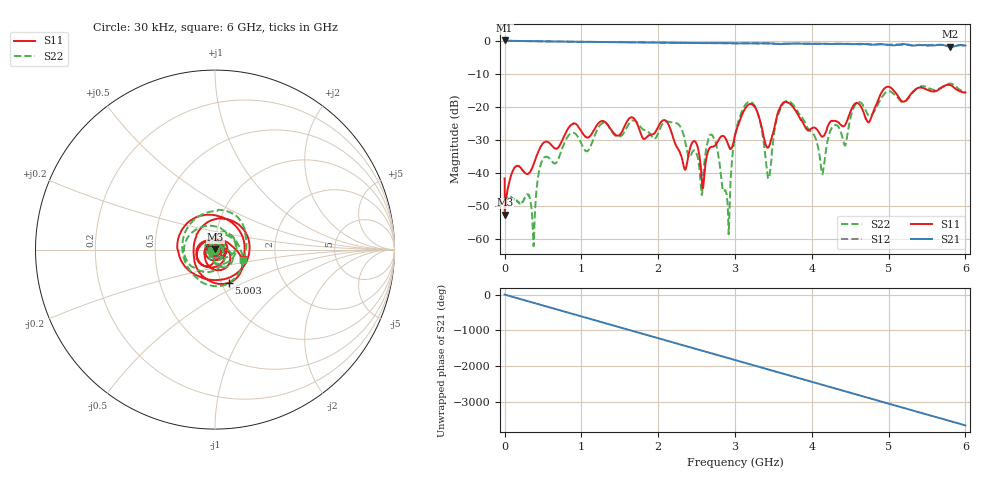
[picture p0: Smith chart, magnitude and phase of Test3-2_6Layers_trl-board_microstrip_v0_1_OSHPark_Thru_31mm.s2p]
! Touchstone 1.1 file saved by VNA QT V0.2.3.0
! Sun Jul 18 21:13:43 2021
! HEWLETT PACKARD,8753D,0,6.14 OPT: 002 006 010
! IF bandwidth: 3000 Hz
! Output power level: 0.000000 dBm
! Smoothing OFF
! Averaging OFF
! Correction ON
! Params: S11 S21 S12 S22
! Start frequency: 0.000030000 GHz
! Stop frequency:  6.000000000 GHz
! Points: 1601
# HZ S DB R 50
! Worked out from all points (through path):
!   1601 points, 30 kHz to 6 GHz, reference 50 ohm
!   highest |S21| = 0.03 dB at 30 kHz (marker M1); lowest = -1.9 dB at 5.805 GHz (marker M2)
!   group delay of S21, straight-line fit = 1.69 ns
!   lowest |S11| = -52.6 dB at 3.78 MHz (marker M3), VSWR 1.00, Z = 50.2 + j0.107 ohm
!   |S11| at or under -10 dB: start of sweep to end of sweep
!   |S22| runs from -62.1 to -13.0 dB; largest |S21 - S12| = 0.041
!   S11 on the Smith chart (normalised r, x): 30 kHz: 1.01, -0.01; 5.003 GHz: 1.08, -0.42; 6 GHz: 1.36, -0.15
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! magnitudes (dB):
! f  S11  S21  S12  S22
! 30 kHz  -41.6  0.0  0.0  -50.1
! 3.78 MHz  -52.6  0.0  0.0  -52.8
! 375 MHz  -37.5  -0.2  -0.2  -62.0
! 502.5 MHz  -31.0  -0.2  -0.2  -35.7
! 1.001 GHz  -27.5  -0.4  -0.4  -31.2
! 2.003 GHz  -26.0  -0.6  -0.6  -27.7
! 2.269 GHz  -33.1  -0.7  -0.7  -25.4
! 2.483 GHz  -30.5  -0.7  -0.7  -33.3
! 2.565 GHz  -41.1  -0.8  -0.8  -46.4
! 2.704 GHz  -32.1  -0.8  -0.8  -28.6
! 2.906 GHz  -31.1  -0.8  -0.8  -50.7
! 3 GHz  -28.5  -0.8  -0.8  -28.7
! 3.233 GHz  -19.4  -0.9  -0.8  -19.0
! 3.439 GHz  -32.1  -0.8  -0.8  -41.7
! 3.645 GHz  -18.5  -1.0  -0.9  -18.6
! 4.001 GHz  -26.4  -1.0  -0.9  -27.8
! 4.14 GHz  -29.0  -1.0  -1.0  -40.3
! 4.275 GHz  -24.3  -1.1  -1.0  -25.9
! 4.433 GHz  -25.5  -1.0  -1.0  -31.7
! 5.003 GHz  -13.9  -1.4  -1.3  -15.3
! 5.805 GHz  -13.4  -1.9  -1.7  -13.0
! 6 GHz  -15.7  -1.5  -1.7  -15.4
